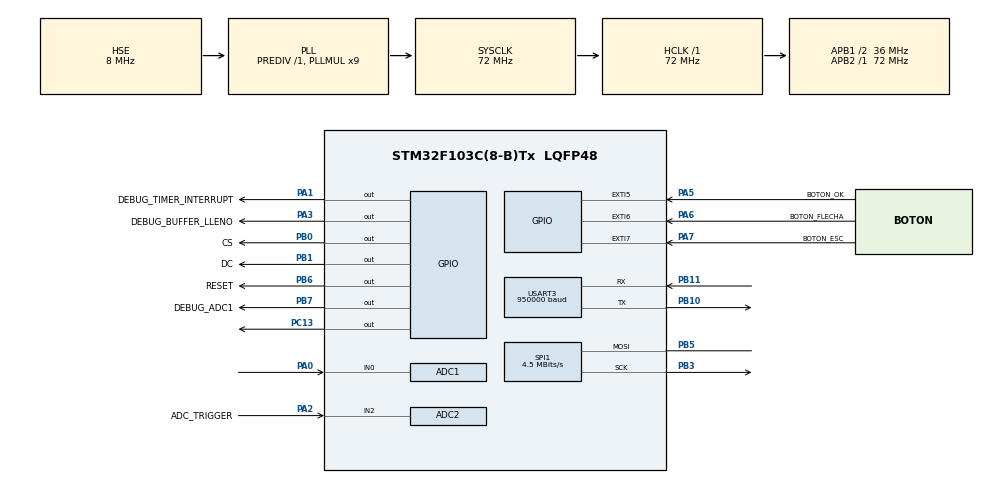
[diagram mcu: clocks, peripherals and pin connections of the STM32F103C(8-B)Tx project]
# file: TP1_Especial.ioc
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ADC1.Channel-0\#ChannelRegularConversion=ADC_CHANNEL_0
ADC1.ContinuousConvMode=DISABLE
ADC1.DataAlign=ADC_DATAALIGN_RIGHT
ADC1.NbrOfConversion=1
ADC1.NbrOfConversionFlag=1
ADC1.Rank-0\#ChannelRegularConversion=1
ADC1.SamplingTime-0\#ChannelRegularConversion=ADC_SAMPLETIME_1CYCLE_5
ADC1.master=1
ADC2.Channel-3\#ChannelRegularConversion=ADC_CHANNEL_2
ADC2.NbrOfConversionFlag=1
ADC2.Rank-3\#ChannelRegularConversion=1
ADC2.SamplingTime-3\#ChannelRegularConversion=ADC_SAMPLETIME_1CYCLE_5
Mcu.Family=STM32F1
Mcu.Name=STM32F103C(8-B)Tx
Mcu.Package=LQFP48
NVIC.ADC1_2_IRQn=true\:0\:0\:false\:false\:true\:true\:true\:true
NVIC.EXTI9_5_IRQn=true\:0\:0\:false\:false\:true\:true\:true\:true
NVIC.PriorityGroup=NVIC_PRIORITYGROUP_4
NVIC.TIM2_IRQn=true\:0\:0\:false\:false\:true\:true\:true\:true
PA0-WKUP.Signal=ADCx_IN0
PA1.GPIO_Label=DEBUG_TIMER_INTERRUPT
PA1.Signal=GPIO_Output
PA13.Mode=Serial_Wire
PA13.Signal=SYS_JTMS-SWDIO
PA14.Mode=Serial_Wire
PA14.Signal=SYS_JTCK-SWCLK
PA2.GPIO_Label=ADC_TRIGGER
PA2.Signal=ADCx_IN2
PA3.GPIO_Label=DEBUG_BUFFER_LLENO
PA3.Signal=GPIO_Output
PA5.GPIO_Label=BOTON_OK
PA5.Signal=GPXTI5
PA6.GPIO_Label=BOTON_FLECHA
PA6.Signal=GPXTI6
PA7.GPIO_Label=BOTON_ESC
PA7.Signal=GPXTI7
PB0.GPIO_Label=CS
PB0.Signal=GPIO_Output
PB1.GPIO_Label=DC
PB1.Signal=GPIO_Output
PB10.Mode=Asynchronous
PB10.Signal=USART3_TX
PB11.Mode=Asynchronous
PB11.Signal=USART3_RX
PB3.Mode=Simplex_Bidirectional_Master
PB3.Signal=SPI1_SCK
PB5.Mode=Simplex_Bidirectional_Master
PB5.Signal=SPI1_MOSI
PB6.GPIO_Label=RESET
PB6.Signal=GPIO_Output
PB7.GPIO_Label=DEBUG_ADC1
PB7.Signal=GPIO_Output
PC13-TAMPER-RTC.Signal=GPIO_Output
PD0-OSC_IN.Mode=HSE-External-Oscillator
PD0-OSC_IN.Signal=RCC_OSC_IN
PD1-OSC_OUT.Mode=HSE-External-Oscillator
PD1-OSC_OUT.Signal=RCC_OSC_OUT
ProjectManager.HeapSize=0x200
ProjectManager.StackSize=0x400
ProjectManager.TargetToolchain=STM32CubeIDE
RCC.ADCPresc=RCC_ADCPCLK2_DIV6
RCC.AHBFreq_Value=72000000
RCC.APB1CLKDivider=RCC_HCLK_DIV2
RCC.APB1Freq_Value=36000000
RCC.APB1TimFreq_Value=72000000
RCC.APB2Freq_Value=72000000
RCC.APB2TimFreq_Value=72000000
RCC.HCLKFreq_Value=72000000
RCC.PLLMUL=RCC_PLL_MUL9
RCC.PLLSourceVirtual=RCC_PLLSOURCE_HSE
RCC.SYSCLKFreq_VALUE=72000000
RCC.SYSCLKSource=RCC_SYSCLKSOURCE_PLLCLK
RCC.USBFreq_Value=72000000
SH.ADCx_IN0.0=ADC1_IN0,IN0
SH.ADCx_IN2.0=ADC2_IN2,IN2
SPI1.BaudRatePrescaler=SPI_BAUDRATEPRESCALER_16
SPI1.CalculateBaudRate=4.5 MBits/s
SPI1.Direction=SPI_DIRECTION_1LINE
SPI1.Mode=SPI_MODE_MASTER
SPI1.VirtualType=VM_MASTER
TIM2.Period=17-1
TIM2.Prescaler=72-1
USART3.BaudRate=950000
USART3.Mode=MODE_TX
USART3.Parity=PARITY_EVEN
USART3.StopBits=STOPBITS_1
USART3.VirtualMode=VM_ASYNC
USART3.WordLength=WORDLENGTH_9B
VP_TIM2_VS_ClockSourceINT.Mode=Internal
board=custom

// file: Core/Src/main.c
/* USER CODE BEGIN Header */
/**
  ******************************************************************************
  * @file           : main.c
  * @brief          : Main program body
  ******************************************************************************
  * @attention
  *
  * Copyright (c) 2023 STMicroelectronics.
  * All rights reserved.
  *
  * This software is licensed under terms that can be found in the LICENSE file
  * in the root directory of this software component.
  * If no LICENSE file comes with this software, it is provided AS-IS.
  *
  ******************************************************************************
  */
/* USER CODE END Header */
#include "main.h"

/* USER CODE BEGIN Includes */

#include "string.h"
#include "stdio.h"
#include "stdlib.h"

#include "GFX_FUNCTIONS.h"
#include "fonts.h"
#include "ST7735.h"
#include "stm32f1xx_hal.h"

/* USER CODE END Includes */

/* USER CODE BEGIN PTD */

typedef enum{
	INICIO,
	C_RESOLUCION,
	C_RESOLUCION_8bit,
	C_RESOLUCION_12bit,
	C_TRIGGER,
	C_TRIGGER_ASC,
	C_TRIGGER_DESC,
	C_MUESTRAS,
	C_MUESTRAS_500,
	C_MUESTRAS_1000,
	GUARDANDO_EN_PING,
	GUARDANDO_EN_PONG,
	PAUSA,
	TRIGGER_TERMINADO

}estados_t;

typedef enum{

	//INICIO_adc,
	boton_OK,
	boton_FLECHA,
	boton_ESC,
	evt_buffer_lleno,
	trigger_disparado

}eventos_t;

/* USER CODE END PTD */

/* USER CODE BEGIN PD */

#define TAMANO 100

#define MAX_Y 160-1
#define MAX_X 128-1

#define color(r, g, b) ((r << 11) | (g  << 5) | ( b))

/* USER CODE END PD */

ADC_HandleTypeDef hadc1;
ADC_HandleTypeDef hadc2;

SPI_HandleTypeDef hspi1;

TIM_HandleTypeDef htim2;

UART_HandleTypeDef huart3;

/* USER CODE BEGIN PV */

volatile uint8_t buffer_lleno_flag = 0;
volatile uint8_t UART_TX_PING_flag = 0;
volatile uint8_t UART_TX_PONG_flag = 0;

uint8_t bufferPING[TAMANO];
uint8_t bufferPONG[TAMANO];

uint8_t *puntero_escritura;
uint8_t *puntero_lectura;
uint8_t *posicion_final_puntero_escritura;
uint8_t *posicion_final_puntero_lectura;

uint16_t debug;

//Modificaciones 05/07

volatile uint16_t trigger_valor = 127;
volatile uint8_t trigger_flag = 1;
volatile uint8_t trigger_activado = 0;
volatile uint16_t trigger_contador = 0;
volatile uint8_t max_buff_trigger = 6;

volatile uint8_t trigger_en_condiciones = 0;

volatile uint8_t ADC_TRIGGER_flag = 0;
volatile uint8_t OFFSET = 1;			//Si el offset es 1 entonces estamos en resol de 8bits, si es 2 entonces estamos en resol. de 12bits.
volatile uint8_t flanco = 0;

volatile uint8_t muestras = 0;

volatile uint16_t trigger_valor_09 = 127 - (127>>3);
volatile uint16_t trigger_valor_11 = 127 + (127>>3);

/* USER CODE END PV */

void SystemClock_Config(void);
static void MX_GPIO_Init(void);
static void MX_ADC1_Init(void);
static void MX_TIM2_Init(void);
static void MX_USART3_UART_Init(void);
static void MX_ADC2_Init(void);
static void MX_SPI1_Init(void);
/* USER CODE BEGIN PFP */

void UART_TX_PING();
void UART_TX_PONG();
uint8_t ADC_Conversion();
void fsm(estados_t *estado, eventos_t eventos);
void Swap_Buffer(uint8_t swap_condicion);

void plotConfig();
void plotResolucion();
void plotTrigger();
void plotMuestras();
void plotInicio();
/* USER CODE END PFP */

/* USER CODE BEGIN 0 */
estados_t estado = INICIO;
eventos_t evt = evt_buffer_lleno;

/* USER CODE END 0 */

int main(void)
{

  /* MCU Configuration--------------------------------------------------------*/

  /* Reset of all peripherals, Initializes the Flash interface and the Systick. */
  HAL_Init();

  /* Configure the system clock */
  SystemClock_Config();

  /* Initialize all configured peripherals */
  MX_GPIO_Init();
  MX_ADC1_Init();
  MX_TIM2_Init();
  MX_USART3_UART_Init();
  MX_ADC2_Init();
  MX_SPI1_Init();

  /* Infinite loop */
  /* USER CODE BEGIN WHILE */

  //La maquina de estados comienza desde el estado de configuracion, por tanto se inicializa el ADC que
  //mide el potenciometro del trigger y la pantalla.

  //Inicializacion de la pantalla.
  ST7735_Init(2);
  ST7735_SetRotation(2);
  plotConfig();
  fillCircle( 21, 75, 5, BLUE);

  //Para almacenar en formato string el valor medido del trigger.
  char value[4];
  uint16_t valor_anterior = 0;

  while (1)
  {

	  if(UART_TX_PING_flag == 1){

		  UART_TX_PING_flag = 0;
		  UART_TX_PING();
	  }
	  if(UART_TX_PONG_flag == 1){

		  UART_TX_PONG_flag = 0;
		  UART_TX_PONG();
	  }
	  if(ADC_TRIGGER_flag == 1){

			HAL_ADC_Start(&hadc2);
			if(HAL_ADC_PollForConversion(&hadc2, 50) == HAL_OK){

				if(OFFSET == 1){
					trigger_valor = (HAL_ADC_GetValue(&hadc2)>>4) & 0XFF;
				}
				else{
					trigger_valor = HAL_ADC_GetValue(&hadc2) & 0XFFF;
				}

				if(valor_anterior != trigger_valor){

					fillRect(45, 50, 45, 15, BLACK);
					itoa(trigger_valor, value, 10);
					ST7735_WriteString(45, 50, value, Font_11x18, color(31,44,0), BLACK);

				}

				valor_anterior = trigger_valor;
				HAL_Delay(300);
			}
	  }

    /* USER CODE END WHILE */

  }
}

void SystemClock_Config(void)
{
  RCC_OscInitTypeDef RCC_OscInitStruct = {0};
  RCC_ClkInitTypeDef RCC_ClkInitStruct = {0};
  RCC_PeriphCLKInitTypeDef PeriphClkInit = {0};

  /** Initializes the RCC Oscillators according to the specified parameters
  * in the RCC_OscInitTypeDef structure.
  */
  RCC_OscInitStruct.OscillatorType = RCC_OSCILLATORTYPE_HSE;
  RCC_OscInitStruct.HSEState = RCC_HSE_ON;
  RCC_OscInitStruct.HSEPredivValue = RCC_HSE_PREDIV_DIV1;
  RCC_OscInitStruct.HSIState = RCC_HSI_ON;
  RCC_OscInitStruct.PLL.PLLState = RCC_PLL_ON;
  RCC_OscInitStruct.PLL.PLLSource = RCC_PLLSOURCE_HSE;
  RCC_OscInitStruct.PLL.PLLMUL = RCC_PLL_MUL9;
  if (HAL_RCC_OscConfig(&RCC_OscInitStruct) != HAL_OK)
  {
    Error_Handler();
  }

  /** Initializes the CPU, AHB and APB buses clocks
  */
  RCC_ClkInitStruct.ClockType = RCC_CLOCKTYPE_HCLK|RCC_CLOCKTYPE_SYSCLK
                              |RCC_CLOCKTYPE_PCLK1|RCC_CLOCKTYPE_PCLK2;
  RCC_ClkInitStruct.SYSCLKSource = RCC_SYSCLKSOURCE_PLLCLK;
  RCC_ClkInitStruct.AHBCLKDivider = RCC_SYSCLK_DIV1;
  RCC_ClkInitStruct.APB1CLKDivider = RCC_HCLK_DIV2;
  RCC_ClkInitStruct.APB2CLKDivider = RCC_HCLK_DIV1;

  if (HAL_RCC_ClockConfig(&RCC_ClkInitStruct, FLASH_LATENCY_2) != HAL_OK)
  {
    Error_Handler();
  }
  PeriphClkInit.PeriphClockSelection = RCC_PERIPHCLK_ADC;
  PeriphClkInit.AdcClockSelection = RCC_ADCPCLK2_DIV6;
  if (HAL_RCCEx_PeriphCLKConfig(&PeriphClkInit) != HAL_OK)
  {
    Error_Handler();
  }
}

static void MX_ADC1_Init(void)
{

  ADC_ChannelConfTypeDef sConfig = {0};

  /** Common config
  */
  hadc1.Instance = ADC1;
  hadc1.Init.ScanConvMode = ADC_SCAN_DISABLE;
  hadc1.Init.ContinuousConvMode = DISABLE;
  hadc1.Init.DiscontinuousConvMode = DISABLE;
  hadc1.Init.ExternalTrigConv = ADC_SOFTWARE_START;
  hadc1.Init.DataAlign = ADC_DATAALIGN_RIGHT;
  hadc1.Init.NbrOfConversion = 1;
  if (HAL_ADC_Init(&hadc1) != HAL_OK)
  {
    Error_Handler();
  }

  /** Configure Regular Channel
  */
  sConfig.Channel = ADC_CHANNEL_0;
  sConfig.Rank = ADC_REGULAR_RANK_1;
  sConfig.SamplingTime = ADC_SAMPLETIME_1CYCLE_5;
  if (HAL_ADC_ConfigChannel(&hadc1, &sConfig) != HAL_OK)
  {
    Error_Handler();
  }

}

static void MX_ADC2_Init(void)
{

  ADC_ChannelConfTypeDef sConfig = {0};

  /** Common config
  */
  hadc2.Instance = ADC2;
  hadc2.Init.ScanConvMode = ADC_SCAN_DISABLE;
  hadc2.Init.ContinuousConvMode = DISABLE;
  hadc2.Init.DiscontinuousConvMode = DISABLE;
  hadc2.Init.ExternalTrigConv = ADC_SOFTWARE_START;
  hadc2.Init.DataAlign = ADC_DATAALIGN_RIGHT;
  hadc2.Init.NbrOfConversion = 1;
  if (HAL_ADC_Init(&hadc2) != HAL_OK)
  {
    Error_Handler();
  }

  /** Configure Regular Channel
  */
  sConfig.Channel = ADC_CHANNEL_2;
  sConfig.Rank = ADC_REGULAR_RANK_1;
  sConfig.SamplingTime = ADC_SAMPLETIME_1CYCLE_5;
  if (HAL_ADC_ConfigChannel(&hadc2, &sConfig) != HAL_OK)
  {
    Error_Handler();
  }

}

static void MX_SPI1_Init(void)
{

  /* SPI1 parameter configuration*/
  hspi1.Instance = SPI1;
  hspi1.Init.Mode = SPI_MODE_MASTER;
  hspi1.Init.Direction = SPI_DIRECTION_1LINE;
  hspi1.Init.DataSize = SPI_DATASIZE_8BIT;
  hspi1.Init.CLKPolarity = SPI_POLARITY_LOW;
  hspi1.Init.CLKPhase = SPI_PHASE_1EDGE;
  hspi1.Init.NSS = SPI_NSS_SOFT;
  hspi1.Init.BaudRatePrescaler = SPI_BAUDRATEPRESCALER_16;
  hspi1.Init.FirstBit = SPI_FIRSTBIT_MSB;
  hspi1.Init.TIMode = SPI_TIMODE_DISABLE;
  hspi1.Init.CRCCalculation = SPI_CRCCALCULATION_DISABLE;
  hspi1.Init.CRCPolynomial = 10;
  if (HAL_SPI_Init(&hspi1) != HAL_OK)
  {
    Error_Handler();
  }

}

static void MX_TIM2_Init(void)
{

  TIM_ClockConfigTypeDef sClockSourceConfig = {0};
  TIM_MasterConfigTypeDef sMasterConfig = {0};

  htim2.Instance = TIM2;
  htim2.Init.Prescaler = 72-1;
  htim2.Init.CounterMode = TIM_COUNTERMODE_UP;
  htim2.Init.Period = 17-1;
  htim2.Init.ClockDivision = TIM_CLOCKDIVISION_DIV1;
  htim2.Init.AutoReloadPreload = TIM_AUTORELOAD_PRELOAD_DISABLE;
  if (HAL_TIM_Base_Init(&htim2) != HAL_OK)
  {
    Error_Handler();
  }
  sClockSourceConfig.ClockSource = TIM_CLOCKSOURCE_INTERNAL;
  if (HAL_TIM_ConfigClockSource(&htim2, &sClockSourceConfig) != HAL_OK)
  {
    Error_Handler();
  }
  sMasterConfig.MasterOutputTrigger = TIM_TRGO_RESET;
  sMasterConfig.MasterSlaveMode = TIM_MASTERSLAVEMODE_DISABLE;
  if (HAL_TIMEx_MasterConfigSynchronization(&htim2, &sMasterConfig) != HAL_OK)
  {
    Error_Handler();
  }

}

static void MX_USART3_UART_Init(void)
{

  huart3.Instance = USART3;
  huart3.Init.BaudRate = 950000;
  huart3.Init.WordLength = UART_WORDLENGTH_9B;
  huart3.Init.StopBits = UART_STOPBITS_1;
  huart3.Init.Parity = UART_PARITY_EVEN;
  huart3.Init.Mode = UART_MODE_TX;
  huart3.Init.HwFlowCtl = UART_HWCONTROL_NONE;
  huart3.Init.OverSampling = UART_OVERSAMPLING_16;
  if (HAL_UART_Init(&huart3) != HAL_OK)
  {
    Error_Handler();
  }

}

static void MX_GPIO_Init(void)
{
  GPIO_InitTypeDef GPIO_InitStruct = {0};

  /* GPIO Ports Clock Enable */
  __HAL_RCC_GPIOC_CLK_ENABLE();
  __HAL_RCC_GPIOD_CLK_ENABLE();
  __HAL_RCC_GPIOA_CLK_ENABLE();
  __HAL_RCC_GPIOB_CLK_ENABLE();

  /*Configure GPIO pin Output Level */
  HAL_GPIO_WritePin(GPIOC, GPIO_PIN_13, GPIO_PIN_RESET);

  /*Configure GPIO pin Output Level */
  HAL_GPIO_WritePin(GPIOA, DEBUG_TIMER_INTERRUPT_Pin|DEBUG_BUFFER_LLENO_Pin, GPIO_PIN_RESET);

  /*Configure GPIO pin Output Level */
  HAL_GPIO_WritePin(GPIOB, CS_Pin|DC_Pin|RESET_Pin|DEBUG_ADC1_Pin, GPIO_PIN_RESET);

  /*Configure GPIO pin : PC13 */
  GPIO_InitStruct.Pin = GPIO_PIN_13;
  GPIO_InitStruct.Mode = GPIO_MODE_OUTPUT_PP;
  GPIO_InitStruct.Pull = GPIO_NOPULL;
  GPIO_InitStruct.Speed = GPIO_SPEED_FREQ_LOW;
  HAL_GPIO_Init(GPIOC, &GPIO_InitStruct);

  /*Configure GPIO pins : DEBUG_TIMER_INTERRUPT_Pin DEBUG_BUFFER_LLENO_Pin */
  GPIO_InitStruct.Pin = DEBUG_TIMER_INTERRUPT_Pin|DEBUG_BUFFER_LLENO_Pin;
  GPIO_InitStruct.Mode = GPIO_MODE_OUTPUT_PP;
  GPIO_InitStruct.Pull = GPIO_NOPULL;
  GPIO_InitStruct.Speed = GPIO_SPEED_FREQ_LOW;
  HAL_GPIO_Init(GPIOA, &GPIO_InitStruct);

  /*Configure GPIO pins : BOTON_OK_Pin BOTON_FLECHA_Pin BOTON_ESC_Pin */
  GPIO_InitStruct.Pin = BOTON_OK_Pin|BOTON_FLECHA_Pin|BOTON_ESC_Pin;
  GPIO_InitStruct.Mode = GPIO_MODE_IT_RISING;
  GPIO_InitStruct.Pull = GPIO_NOPULL;
  HAL_GPIO_Init(GPIOA, &GPIO_InitStruct);

  /*Configure GPIO pins : CS_Pin DC_Pin RESET_Pin DEBUG_ADC1_Pin */
  GPIO_InitStruct.Pin = CS_Pin|DC_Pin|RESET_Pin|DEBUG_ADC1_Pin;
  GPIO_InitStruct.Mode = GPIO_MODE_OUTPUT_PP;
  GPIO_InitStruct.Pull = GPIO_NOPULL;
  GPIO_InitStruct.Speed = GPIO_SPEED_FREQ_LOW;
  HAL_GPIO_Init(GPIOB, &GPIO_InitStruct);

  /* EXTI interrupt init*/
  HAL_NVIC_SetPriority(EXTI9_5_IRQn, 0, 0);
  HAL_NVIC_EnableIRQ(EXTI9_5_IRQn);

}

/* USER CODE BEGIN 4 */

void plotConfig(){

	  fillScreen(BLACK);
	  drawRoundRect(0, 0, MAX_X, MAX_Y, 10, BLUE);

	  ST7735_WriteString(18, 10, "OSCILOSCOPIO", Font_7x10, WHITE, BLACK);
	  ST7735_WriteString(18, 25, "CONFIGURACION", Font_7x10, WHITE, BLACK);

	  ST7735_WriteString(35, 70, "Inicio", Font_7x10, BLACK, YELLOW);
	  ST7735_WriteString(35, 90, "Resolucion", Font_7x10, BLACK, YELLOW);
	  ST7735_WriteString(35, 110, "Trigger", Font_7x10, BLACK, YELLOW);
	  ST7735_WriteString(35, 130, "Muestras", Font_7x10, BLACK, YELLOW);
}

void plotInicio(){

	  fillScreen(BLACK);
	  drawRoundRect(0, 0, MAX_X, MAX_Y, 10, color(3,47,3));

	  ST7735_WriteString(40, 40, "MODO: ", Font_11x18, WHITE, BLACK);
	  ST7735_WriteString(20, 80, "Transmitiendo", Font_7x10, GREEN, BLACK);
}

void plotResolucion(){

	fillScreen(BLACK);
	drawRoundRect(0, 0, MAX_X, MAX_Y, 10, color(4,47,25));
	ST7735_WriteString(10, 10, "Configuracion", Font_7x10, WHITE, BLACK);
	ST7735_WriteString(10, 25, "de la Resolucion", Font_7x10, WHITE, BLACK);

	ST7735_WriteString(50, 70, "8 bits", Font_7x10, WHITE, BLACK);
	ST7735_WriteString(50, 90, "12 bits", Font_7x10, WHITE, BLACK);

}

void plotTrigger(){

	fillScreen(BLACK);
	drawRoundRect(0, 0, MAX_X, MAX_Y, 10, color(26,34,31));
	ST7735_WriteString(15, 10, "Configuracion", Font_7x10, WHITE, BLACK);
	ST7735_WriteString(15, 25, "del Trigger", Font_7x10, WHITE, BLACK);

	ST7735_WriteString(35, 100, "Ascendente", Font_7x10, WHITE, BLACK);
	ST7735_WriteString(35, 120, "Descendente", Font_7x10, WHITE, BLACK);

}

void plotMuestras(){

	fillScreen(BLACK);
	drawRoundRect(0, 0, MAX_X, MAX_Y, 10, color(0,58,31));
	ST7735_WriteString(15, 10, "Configuracion", Font_7x10, WHITE, BLACK);
	ST7735_WriteString(15, 25, "de las muestras", Font_7x10, WHITE, BLACK);

	ST7735_WriteString(35, 80, "500 muestras", Font_7x10, WHITE, BLACK);
	ST7735_WriteString(35, 100, "1000 muestras", Font_7x10, WHITE, BLACK);

}

void HAL_GPIO_EXTI_Callback(uint16_t GPIO_Pin) {

	if(GPIO_Pin == BOTON_OK_Pin){

		evt = boton_OK;
		fsm(&estado, evt);
		//HAL_GPIO_TogglePin(GPIOC, GPIO_PIN_13);
	}
	if(GPIO_Pin == BOTON_FLECHA_Pin){

		evt = boton_FLECHA;
		fsm(&estado, evt);
		//HAL_GPIO_TogglePin(GPIOC, GPIO_PIN_13);
	}
	if(GPIO_Pin == BOTON_ESC_Pin){

		evt = boton_ESC;
		fsm(&estado, evt);
		//HAL_GPIO_TogglePin(GPIOC, GPIO_PIN_13);
	}
}

void HAL_TIM_PeriodElapsedCallback(TIM_HandleTypeDef* htim)
{

	if(htim->Instance == TIM2){
		HAL_GPIO_TogglePin(GPIOA, DEBUG_TIMER_INTERRUPT_Pin);

		switch(ADC_Conversion()){
		case 1:
			HAL_GPIO_WritePin(DEBUG_BUFFER_LLENO_GPIO_Port, DEBUG_BUFFER_LLENO_Pin, GPIO_PIN_SET);
			evt = evt_buffer_lleno;
			fsm(&estado, evt);
			HAL_GPIO_WritePin(DEBUG_BUFFER_LLENO_GPIO_Port, DEBUG_BUFFER_LLENO_Pin, GPIO_PIN_RESET);
			break;
		case 2:
			evt = trigger_disparado;
			fsm(&estado, evt);
			break;
		default:
			break;
		}

	}

}

uint8_t ADC_Conversion(){

	uint16_t valor_medido = 0;
	HAL_ADC_Start(&hadc1);
	if (HAL_ADC_PollForConversion(&hadc1, 0) == HAL_OK) {
	    //HAL_GPIO_WritePin(GPIOB, DEBUG_ADC1_Pin, GPIO_PIN_SET);

	    uint32_t adc_value = HAL_ADC_GetValue(&hadc1);
	    if (OFFSET == 1) {
	        *puntero_escritura = (adc_value >> 4) & 0xFF;
	        valor_medido = *puntero_escritura;
	    } else { // OFFSET = 2
	        *puntero_escritura = (adc_value >> 8) & 0x0F;
	        *(puntero_escritura + 1) = adc_value & 0xFF;
	        //valor_medido = ((*puntero_escritura) << 8) + *(puntero_escritura + 1);
	        valor_medido = adc_value;
	    }

	    if (trigger_flag == 1) {
	        if ((flanco == 0 && (valor_medido < trigger_valor_09)) || (flanco == 1 && (valor_medido > trigger_valor_11)) ) {
	            trigger_en_condiciones = 1;
	            trigger_flag = 0;
	        }
	    }

	    if (trigger_en_condiciones == 1) {
	        if ((flanco == 0 && (valor_medido > trigger_valor_11)) || (flanco == 1 && (valor_medido < trigger_valor_09)) ) {
	            trigger_activado = 1;
	            trigger_en_condiciones = 0;
	        }
	    }

	    puntero_escritura += OFFSET;

	    if (puntero_escritura >= posicion_final_puntero_escritura) {
	        if (trigger_activado == 1) {
	            if (++trigger_contador >= max_buff_trigger) {
	                trigger_contador = 0;
	                trigger_activado = 0;
	                trigger_flag = 1;

	                return 2;
	            }
	        }
	        return 1;
	    } else {

	        return -1;
	    }
	} else {
	    return -1;
	}

}

void Swap_Buffer(uint8_t swap_condicion){
	if(swap_condicion == 0){
		posicion_final_puntero_escritura = bufferPING + TAMANO;
		puntero_escritura = bufferPING;
	}
	else{
		posicion_final_puntero_escritura = bufferPONG + TAMANO;
		puntero_escritura = bufferPONG;
	}
}

void UART_TX_PING(){

	//HAL_GPIO_WritePin(GPIOA, BUFF_PING_Pin, GPIO_PIN_SET);

	HAL_UART_Transmit(&huart3, bufferPING, sizeof(bufferPING), 10);

	//HAL_GPIO_WritePin(GPIOA, BUFF_PING_Pin, GPIO_PIN_RESET);
}

void UART_TX_PONG(){

	//HAL_GPIO_WritePin(GPIOA, BUFF_PONG_Pin, GPIO_PIN_SET);

	HAL_UART_Transmit(&huart3, bufferPONG, sizeof(bufferPONG), 10);

	//HAL_GPIO_WritePin(GPIOA, BUFF_PONG_Pin, GPIO_PIN_RESET);
}

void fsm(estados_t *estado, eventos_t eventos) {
    estados_t estado_anterior = *estado;

    switch (estado_anterior) {
        case GUARDANDO_EN_PING:
        case GUARDANDO_EN_PONG:
            if (eventos == boton_FLECHA) {
                *estado = PAUSA;
            } else if (eventos == evt_buffer_lleno) {
                *estado = (estado_anterior == GUARDANDO_EN_PING) ? GUARDANDO_EN_PONG : GUARDANDO_EN_PING;
            } else if (eventos == trigger_disparado) {
                *estado = TRIGGER_TERMINADO;
            }
            break;
        case INICIO:
            if (eventos == boton_OK) {
                *estado = GUARDANDO_EN_PING;
            } else if (eventos == boton_FLECHA) {
                *estado = C_RESOLUCION;
            }
            break;
        case PAUSA:
            if (eventos == boton_OK) {
                *estado = GUARDANDO_EN_PING;
            } else if (eventos == boton_ESC) {
                *estado = INICIO;
            }
            break;
        case TRIGGER_TERMINADO:
            if (eventos == boton_ESC) {
                *estado = INICIO;
            }
            break;
        case C_RESOLUCION:
            if (eventos == boton_OK) {
                *estado = (OFFSET == 1) ? C_RESOLUCION_8bit : C_RESOLUCION_12bit;
            } else if (eventos == boton_FLECHA) {
                *estado = C_TRIGGER;
            }
            break;
        case C_RESOLUCION_8bit:
            if (eventos == boton_ESC) {
                *estado = C_RESOLUCION;
            } else if (eventos == boton_FLECHA) {
                *estado = C_RESOLUCION_12bit;
            }
            break;
        case C_RESOLUCION_12bit:
            if (eventos == boton_ESC) {
                *estado = C_RESOLUCION;
            } else if (eventos == boton_FLECHA) {
                *estado = C_RESOLUCION_8bit;
            }
            break;
        case C_TRIGGER:
            if (eventos == boton_OK) {
                *estado = (flanco == 0) ? C_TRIGGER_ASC : C_TRIGGER_DESC;
            } else if (eventos == boton_FLECHA) {
                *estado = C_MUESTRAS;
            }
            break;
        case C_TRIGGER_ASC:
            if (eventos == boton_ESC) {
                *estado = C_TRIGGER;
            } else if (eventos == boton_FLECHA) {
                *estado = C_TRIGGER_DESC;
            }
            break;
        case C_TRIGGER_DESC:
            if (eventos == boton_ESC) {
                *estado = C_TRIGGER;
            } else if (eventos == boton_FLECHA) {
                *estado = C_TRIGGER_ASC;
            }
            break;
        case C_MUESTRAS:
            if (eventos == boton_OK) {
                *estado = (muestras == 0) ? C_MUESTRAS_500 : C_MUESTRAS_1000;
            } else if (eventos == boton_FLECHA) {
                *estado = INICIO;
            }
            break;
        case C_MUESTRAS_500:
            if (eventos == boton_ESC) {
                *estado = C_MUESTRAS;
            } else if (eventos == boton_FLECHA) {
                *estado = C_MUESTRAS_1000;
            }
            break;
        case C_MUESTRAS_1000:
            if (eventos == boton_ESC) {
                *estado = C_MUESTRAS;
            } else if (eventos == boton_FLECHA) {
                *estado = C_MUESTRAS_500;
            }
            break;
        default:
            break;
    }

    if (estado_anterior != *estado) {
        switch (estado_anterior) {
            case GUARDANDO_EN_PING:
                Swap_Buffer(1);
                UART_TX_PING_flag = 1;
                if (*estado == PAUSA || *estado == TRIGGER_TERMINADO) {
                    HAL_TIM_Base_Stop_IT(&htim2);
                    HAL_ADC_Stop(&hadc1);
                    fillRect(20, 80, 100, 15, BLACK);
                    if (*estado == PAUSA) {
                        ST7735_WriteString(40, 80, "Pausado", Font_7x10, RED, BLACK);
                    } else {
                        ST7735_WriteString(40, 80, "Trigger", Font_7x10, color(27, 57, 1), BLACK);
                        ST7735_WriteString(35, 100, "Disparado", Font_7x10, color(27, 57, 1), BLACK);
                    }
                }
                break;
            case GUARDANDO_EN_PONG:
                Swap_Buffer(0);
                UART_TX_PONG_flag = 1;
                if (*estado == PAUSA || *estado == TRIGGER_TERMINADO) {
                    HAL_TIM_Base_Stop_IT(&htim2);
                    HAL_ADC_Stop(&hadc1);
                    fillRect(20, 80, 100, 15, BLACK);
                    if (*estado == PAUSA) {
                        ST7735_WriteString(40, 80, "Pausado", Font_7x10, RED, BLACK);
                    } else {
                        ST7735_WriteString(40, 80, "Trigger", Font_7x10, color(27, 57, 1), BLACK);
                        ST7735_WriteString(35, 100, "Disparado", Font_7x10, color(27, 57, 1), BLACK);
                    }
                }
                break;
            case INICIO:
                if (*estado == GUARDANDO_EN_PING) {
                    plotInicio();
                    max_buff_trigger = (OFFSET == 1) ? ((muestras == 0) ? 6 : 11) : ((muestras == 0) ? 11 : 220);
                    Swap_Buffer(0);
                    HAL_TIM_Base_Start_IT(&htim2);
                    HAL_ADC_Start(&hadc1);
                } else {
                    fillCircle(21, 75, 5, BLACK);
                    fillCircle(21, 94, 5, BLUE);
                }
                break;
            case PAUSA:
                if (*estado == GUARDANDO_EN_PING) {
                    fillRect(20, 80, 100, 15, BLACK);
                    ST7735_WriteString(20, 80, "Transmitiendo", Font_7x10, GREEN, BLACK);
                    Swap_Buffer(0);
                    HAL_TIM_Base_Start_IT(&htim2);
                    HAL_ADC_Start(&hadc1);
                } else if (*estado == INICIO) {
                    plotConfig();
                    fillCircle(21, 75, 5, BLUE);
                }
                break;
            case TRIGGER_TERMINADO:

                plotConfig();
                fillCircle(21, 75, 5, BLUE);
                break;
            case C_RESOLUCION:
                if (*estado == C_TRIGGER) {
                    fillCircle(21, 94, 5, BLACK);
                    fillCircle(21, 115, 5, BLUE);
                } else if (*estado == C_RESOLUCION_8bit) {
                    plotResolucion();
                    fillCircle(35, 74, 5, BLUE);
                } else {
                    plotResolucion();
                    fillCircle(35, 94, 5, BLUE);
                }
                break;
            case C_RESOLUCION_8bit:
                if (*estado == C_RESOLUCION_12bit) {
                    OFFSET = 2;
                    //htim2.Init.Period = 30-1;

                    TIM2->ARR = 29-1;

                    fillCircle(35, 74, 5, BLACK);
                    fillCircle(35, 94, 5, BLUE);
                } else {
                    plotConfig();
                    fillCircle(21, 94, 5, BLUE);
                }
                break;
            case C_RESOLUCION_12bit:
                if (*estado == C_RESOLUCION_8bit) {
                    OFFSET = 1;

                    TIM2->ARR = 17-1;

                    fillCircle(35, 94, 5, BLACK);
                    fillCircle(35, 74, 5, BLUE);
                } else {
                    plotConfig();
                    fillCircle(21, 94, 5, BLUE);
                }
                break;
            case C_TRIGGER:
                if (*estado == C_MUESTRAS) {
                    fillCircle(21, 115, 5, BLACK);
                    fillCircle(21, 134, 5, BLUE);
                } else {
                    ADC_TRIGGER_flag = 1;
                    HAL_ADC_Start(&hadc2);
                    plotTrigger();
                    fillCircle(23, (*estado == C_TRIGGER_ASC) ? 105 : 123, 5, BLUE);
                }
                break;
            case C_TRIGGER_ASC:
                if (*estado == C_TRIGGER) {

                	ADC_TRIGGER_flag = 0;
    				trigger_valor_09 = trigger_valor - (trigger_valor>>3);
    				trigger_valor_11 = trigger_valor + (trigger_valor>>3);

                    HAL_ADC_Stop(&hadc2);
                    plotConfig();
                    fillCircle(21, 115, 5, BLUE);
                } else if (*estado == C_TRIGGER_DESC) {
                    flanco = 1;
                    fillCircle(23, 105, 5, BLACK);
                    fillCircle(23, 123, 5, BLUE);
                }
                break;
            case C_TRIGGER_DESC:
                if (*estado == C_TRIGGER) {

                	ADC_TRIGGER_flag = 0;
    				trigger_valor_09 = trigger_valor - (trigger_valor>>3);
    				trigger_valor_11 = trigger_valor + (trigger_valor>>3);

                    HAL_ADC_Stop(&hadc2);
                    plotConfig();
                    fillCircle(21, 115, 5, BLUE);
                } else if (*estado == C_TRIGGER_ASC) {
                    flanco = 0;
                    fillCircle(23, 105, 5, BLUE);
                    fillCircle(23, 123, 5, BLACK);
                }
                break;
            case C_MUESTRAS:
                if (*estado == INICIO) {
                    fillCircle(21, 134, 5, BLACK);
                    fillCircle(21, 75, 5, BLUE);
                } else if (*estado == C_MUESTRAS_500) {
                    plotMuestras();
                    fillCircle(21, 84, 5, BLUE);
                } else {
                    plotMuestras();
                    fillCircle(21, 104, 5, BLUE);
                }
                break;
            case C_MUESTRAS_500:
                if (*estado == C_MUESTRAS) {
                    plotConfig();
                    fillCircle(21, 134, 5, BLUE);
                } else if (*estado == C_MUESTRAS_1000) {
                    muestras = 1;
                    fillCircle(21, 84, 5, BLACK);
                    fillCircle(21, 104, 5, BLUE);
                }
                break;
            case C_MUESTRAS_1000:
                if (*estado == C_MUESTRAS) {
                    plotConfig();
                    fillCircle(21, 134, 5, BLUE);
                } else if (*estado == C_MUESTRAS_500) {
                    fillCircle(21, 84, 5, BLUE);
                    fillCircle(21, 104, 5, BLACK);
                }
                break;
            default:
                break;
        }
    }
}

/* USER CODE END 4 */

void Error_Handler(void)
{
  __disable_irq();
  while (1)
  {
  }
}
